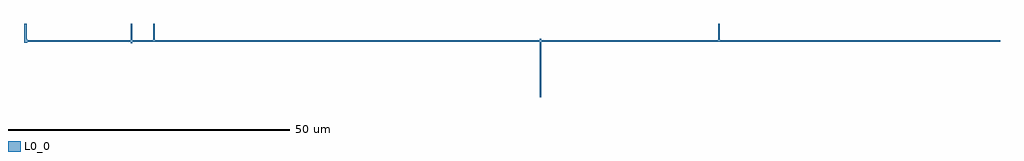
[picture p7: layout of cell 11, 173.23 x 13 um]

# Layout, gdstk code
import gdstk
lib = gdstk.Library(unit=1e-6, precision=1e-09)
def P(c, l, *ps):  # polygons
    for p in ps: c.add(gdstk.Polygon(p, *l))
L0_0 = (0, 0)

c_11 = lib.new_cell('11')
P(c_11, L0_0, [(1217.26,775),(1217.26,771.74),(1216.82,771.74),(1216.82,775),(1217.26,775)],
  [(1216.77,772.23),(1217.31,772.23),(1217.31,771.69),(1216.77,771.69),(1216.77,772.23)],
  [(1339.28,772.1),(1339.66,772.1),(1339.66,771.82),(1339.28,771.82),(1339.28,772.1)],
  [(1239.695,772.075),(1339.585,772.075),(1339.585,771.845),(1239.695,771.845),(1239.695,772.075)],
  [(1239.62,772.1),(1240,772.1),(1240,771.82),(1239.62,771.82),(1239.62,772.1)],
  [(1340.27,775),(1340.27,771.82),(1339.99,771.82),(1339.99,775),(1340.27,775)],
  [(1339.33,772.1),(1340.27,772.1),(1340.27,771.82),(1339.33,771.82),(1339.33,772.1)],
  [(1339.28,772.1),(1339.66,772.1),(1339.66,771.82),(1339.28,771.82),(1339.28,772.1)],
  [(1339.33,772.1),(1340.27,772.1),(1340.27,771.82),(1339.33,771.82),(1339.33,772.1)],
  [(1339.28,772.1),(1339.66,772.1),(1339.66,771.82),(1339.28,771.82),(1339.28,772.1)],
  [(1239.62,772.1),(1240,772.1),(1240,771.82),(1239.62,771.82),(1239.62,772.1)],
  [(1239.95,775),(1239.95,771.82),(1239.67,771.82),(1239.67,775),(1239.95,775)],
  [(1235.71,772.33),(1235.99,772.33),(1235.99,771.59),(1235.71,771.59),(1235.71,772.33)],
  [(1235.99,775),(1235.99,771.82),(1235.71,771.82),(1235.71,775),(1235.99,775)],
  [(1235.66,772.1),(1236.04,772.1),(1236.04,771.82),(1235.66,771.82),(1235.66,772.1)],
  [(1390,771.82),(1235.71,771.82),(1235.71,772.1),(1390,772.1),(1390,771.82)],
  [(1308.31,762),(1308.31,772.1),(1308.59,772.1),(1308.59,762),(1308.31,762)],
  [(1308.31,772.33),(1308.59,772.33),(1308.59,771.59),(1308.31,771.59),(1308.31,772.33)],
  [(1216.8,772.15),(1217.28,772.15),(1217.28,771.77),(1216.8,771.77),(1216.8,772.15)],
  [(1216.9,772.1),(1308.59,772.1),(1308.59,771.82),(1216.9,771.82),(1216.9,772.1)],
  [(1308.26,772.1),(1308.64,772.1),(1308.64,771.82),(1308.26,771.82),(1308.26,772.1)])

lib.write_gds('11.gds')
